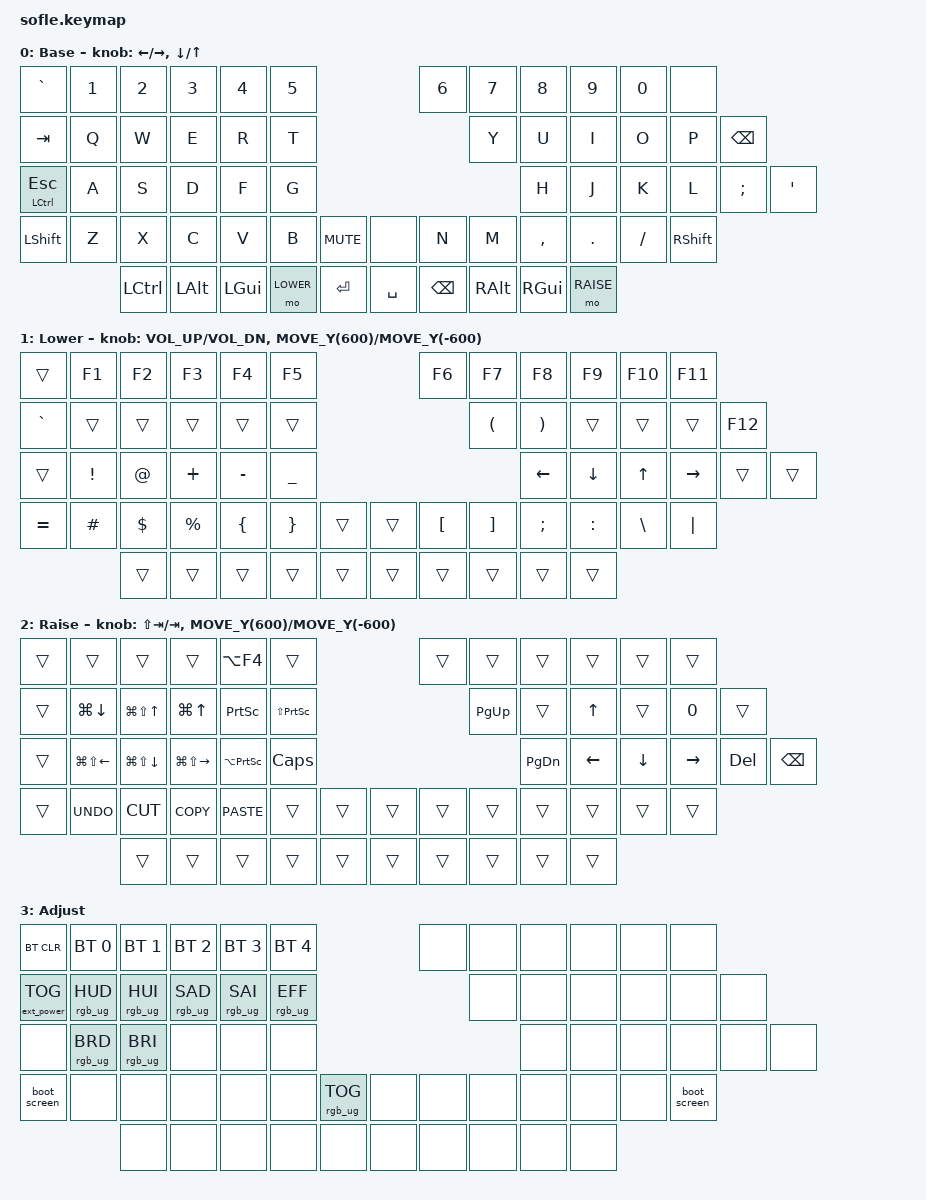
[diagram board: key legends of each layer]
/*
 * Copyright (c) 2020 The ZMK Contributors
 *
 * SPDX-License-Identifier: MIT
 */

#include <behaviors.dtsi>
#include <dt-bindings/zmk/keys.h>
#include <dt-bindings/zmk/bt.h>
#include <dt-bindings/zmk/rgb.h>
#include <dt-bindings/zmk/ext_power.h>
#include <dt-bindings/zmk/pointing.h>

#define BASE 0
#define LOWER 1
#define RAISE 2
#define ADJUST 3

/ {

    behaviors {
        inc_dec_msc: inc_dec_msc {
            compatible = "zmk,behavior-sensor-rotate-var";
            #sensor-binding-cells = <2>;
            tap-ms = <20>;
            bindings = <&msc>, <&msc>;
        };

        // Bootloader key that leaves a "flash me" screen on the OLED (sofle_display/).
        // Runs on the half where it is pressed, so the name must be <= 8 characters.
        boot_screen: bootscr {
            compatible = "sofle,behavior-boot-screen";
            #binding-cells = <0>;
        };
    };

   // Activate ADJUST layer by pressing raise and lower
    conditional_layers {
        compatible = "zmk,conditional-layers";
        adjust_layer {
            if-layers = <LOWER RAISE>;
            then-layer = <ADJUST>;
        };
    };

    keymap {
        compatible = "zmk,keymap";

        default_layer {
            display-name = "Base";
// ------------------------------------------------------------------------------------------------------------
// |   `   |  1  |  2  |  3   |  4   |  5   |                   |  6   |  7    |  8    |  9   |   0   |       |
// |  TAB  |  Q  |  W  |  E   |  R   |  T   |                   |  Y   |  U    |  I    |  O   |   P   | BKSPC |
// | CTRL/ESC | A |  S  |  D   |  F   |  G   |                   |  H   |  J    |  K    |  L   |   ;   |   '   |
// | SHIFT |  Z  |  X  |  C   |  V   |  B   |  MUTE  |  |       |  N   |  M    |  ,    |  .   |   /   | SHIFT |
//               | CTRL| ALT  | CMD  | LOWER|  ENTER |  | SPACE | BSPC  | ALT   | CMD   | RAISE|
// Position code: L[r,c] and R[r,c], rows bottom-to-top (thumb row = 0, number row = 4), columns from the split outward.
// Thumb row is row 0; R[0,0]=SPACE, R[0,1]=BSPC, R[0,2]=RALT, R[0,3]=RGUI, R[0,4]=RAISE.
            bindings = <
&kp GRAVE &kp N1 &kp N2   &kp N3   &kp N4    &kp N5                           &kp N6 &kp N7    &kp N8    &kp N9   &kp N0   &none
&kp TAB &kp Q  &kp W    &kp E    &kp R     &kp T                       &kp Y  &kp U     &kp I     &kp O    &kp P    &kp BSPC
&mt LCTRL ESC   &kp A  &kp S    &kp D    &kp F     &kp G                            &kp H  &kp J     &kp K     &kp L    &kp SEMI &kp SQT
&kp LSHFT &kp Z  &kp X    &kp C    &kp V     &kp B      &kp C_MUTE &none      &kp N  &kp M     &kp COMMA &kp DOT  &kp FSLH &kp RSHFT
                 &kp LCTRL &kp LALT &kp LGUI &mo LOWER  &kp RET    &kp SPACE  &kp BSPC  &kp RALT  &kp RGUI  &mo RAISE
            >;

            sensor-bindings = <&inc_dec_kp LEFT RIGHT &inc_dec_kp DOWN UP>;
        };

        lower_layer {
            display-name = "Lower";
// TODO: Some binds are waiting for shifted keycode support.
// ------------------------------------------------------------------------------------------------------------
// |       |  F1 |  F2 |  F3  |  F4  |  F5  |                   |  F6  |  F7   |  F8   |  F9  |  F10  |  F11  |
// |   `   |     |     |     |     |     |                   |  (  |  )   |      |     |       |  F12  |
// |       |  !  |  @  |  +   |  -   |  _   |                   | LEFT  | DOWN |  UP   | RIGHT|       |       |
// |       |  =  |  #  |  $   |  %   |  {   |  }  |              |  [   |  ]    |  ;    |  :   |   \   |       |
//               |     |      |      |      |        |  |       |      |       |       |      |
            bindings = <
&trans    &kp F1    &kp F2    &kp F3      &kp F4    &kp F5                    &kp F6    &kp F7   &kp F8    &kp F9    &kp F10   &kp F11
&kp GRAVE &trans    &trans    &trans      &trans    &trans                    &kp LPAR  &kp RPAR &trans    &trans    &trans    &kp F12
&trans    &kp EXCL  &kp AT    &kp PLUS    &kp MINUS &kp UNDER                 &kp LEFT  &kp DOWN &kp UP    &kp RIGHT &trans   &trans
&kp EQUAL &kp HASH  &kp DLLR  &kp PRCNT &kp LBRC  &kp RBRC  &trans &trans  &kp LBKT  &kp RBKT &kp SEMI  &kp COLON &kp BSLH  &kp PIPE
                    &trans    &trans      &trans    &trans     &trans &trans  &trans    &trans   &trans    &trans
            >;

            sensor-bindings = <&inc_dec_kp C_VOL_UP C_VOL_DN &inc_dec_msc MOVE_Y(600) MOVE_Y(-600)>;
        };

        raise_layer {
            display-name = "Raise";
// ------------------------------------------------------------------------------------------------------------
// |       |      |      |       | ALTF4 |      |                |      |      |       |      |       |       |
// |       | MIN  | WIN^ | MAX   | PRTSC | SSHOT|                | PGUP |      |   ^   |      |       |       |
// |       | WIN< | WINv | WIN>  | WSHOT | CAPS |                | PGDN |   <- |   v   |  ->  |  DEL  | BKSPC |
// MIN/MAX = GUI+Down/Up; WIN<^v> = GUI+Shift+arrow (move window).
// PRTSC = screenshot UI; SSHOT = Shift+Print (full screen); WSHOT = Alt+Print (window).
// |       | UNDO | CUT  | COPY  | PASTE |      |      |  |      |      |      |       |      |       |       |
//                |      |       |       |      |      |  |      |      |      |       |      |
            bindings = <
&trans     &trans       &trans       &trans       &kp LA(F4)   &trans                        &trans    &trans    &trans   &trans    &trans  &trans
&trans     &kp LG(DOWN) &kp LG(LS(UP)) &kp LG(UP) &kp PSCRN    &kp LS(PSCRN)                      &kp PG_UP &trans    &kp UP   &trans    &kp N0  &trans
&trans     &kp LG(LS(LEFT)) &kp LG(LS(DOWN)) &kp LG(LS(RIGHT)) &kp LA(PSCRN) &kp CLCK                      &kp PG_DN &kp LEFT  &kp DOWN &kp RIGHT &kp DEL &kp BSPC
&trans     &kp K_UNDO   &kp K_CUT    &kp K_COPY   &kp K_PASTE  &trans        &trans  &trans  &trans    &trans    &trans   &trans    &trans  &trans
                        &trans       &trans       &trans       &trans        &trans  &trans  &trans    &trans    &trans   &trans
            >;

            sensor-bindings = <&inc_dec_kp LS(TAB) TAB &inc_dec_msc MOVE_Y(600) MOVE_Y(-600)>;
        };

        adjust_layer {
// ----------------------------------------------------------------------------------------------------------------------------
// | BTCLR  |  BT1    |  BT2    |   BT3   |   BT4   |   BT5   |                  |      |      |       |      |       |       |
// | EXTPWR | RGB_HUD | RGB_HUI | RGB_SAD | RGB_SAI | RGB_EFF |                  |      |      |       |      |       |       |
// |        | RGB_BRD | RGB_BRI |         |         |         |                  |      |      |       |      |       |       |
// |  BOOT  |         |         |         |         |         | RGB_TOG | |      |      |      |       |      |       |  BOOT |
//                    |         |         |         |         |         | |      |      |      |       |      |
            display-name = "Adjust";
            bindings = <
&bt BT_CLR        &bt BT_SEL 0    &bt BT_SEL 1    &bt BT_SEL 2    &bt BT_SEL 3    &bt BT_SEL 4                            &none &none &none &none &none &none
&ext_power EP_TOG &rgb_ug RGB_HUD &rgb_ug RGB_HUI &rgb_ug RGB_SAD &rgb_ug RGB_SAI &rgb_ug RGB_EFF                         &none &none &none &none &none &none
&none             &rgb_ug RGB_BRD &rgb_ug RGB_BRI &none           &none           &none                                   &none &none &none &none &none &none
&boot_screen      &none           &none           &none           &none           &none            &rgb_ug RGB_TOG &none  &none &none &none &none &none &boot_screen
                                  &none           &none           &none           &none            &none           &none  &none &none &none &none
            >;
        };

    };
};
